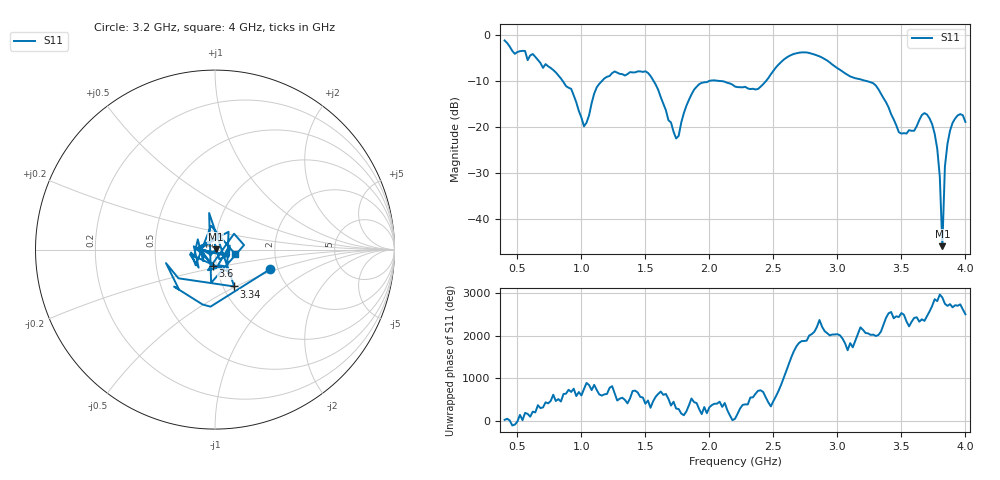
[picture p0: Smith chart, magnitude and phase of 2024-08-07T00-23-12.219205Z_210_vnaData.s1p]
!Created with skrf (http://scikit-rf.org).
# Hz S RI R 50.0
!freq ReS11 ImS11
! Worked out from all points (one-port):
!   181 points, 400 MHz to 4 GHz, reference 50 ohm
!   lowest |S11| = -45.8 dB at 3.82 GHz (marker M1), VSWR 1.01, Z = 50.5 + j0.177 ohm
!   |S11| at or under -10 dB: 1.565 GHz to 1.996 GHz (431.3 MHz wide, 24.2 % of centre); 2.098 GHz to 2.442 GHz (344.1 MHz wide, 15.2 % of centre); 3.23 GHz to end of sweep (the widest 3 of 4)
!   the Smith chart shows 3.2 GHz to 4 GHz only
!   S11 on the Smith chart (normalised r, x): 3.2 GHz: 1.80, -0.45; 3.34 GHz: 1.13, -0.49; 3.6 GHz: 0.96, -0.17; 4 GHz: 1.25, -0.06
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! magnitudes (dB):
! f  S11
! 400 MHz  -1.2
! 860 MHz  -10.2
! 920 MHz  -11.7
! 1.02 GHz  -19.8
! 1.12 GHz  -11.3
! 1.3 GHz  -8.4
! 1.52 GHz  -8.2
! 1.74 GHz  -22.5
! 1.76 GHz  -21.9
! 1.82 GHz  -15.4
! 1.92 GHz  -10.7
! 2.2 GHz  -11.2
! 2.38 GHz  -11.7
! 2.66 GHz  -4.1
! 3.1 GHz  -9.0
! 3.2 GHz  -9.8
! 3.34 GHz  -12.7
! 3.48 GHz  -21.1
! 3.56 GHz  -20.7
! 3.6 GHz  -20.8
! 3.68 GHz  -16.9
! 3.76 GHz  -21.4
! 3.8 GHz  -30.7
! 3.82 GHz  -45.8
! 3.84 GHz  -28.5
! 3.86 GHz  -23.6
! 3.94 GHz  -17.4
! 4 GHz  -18.9
